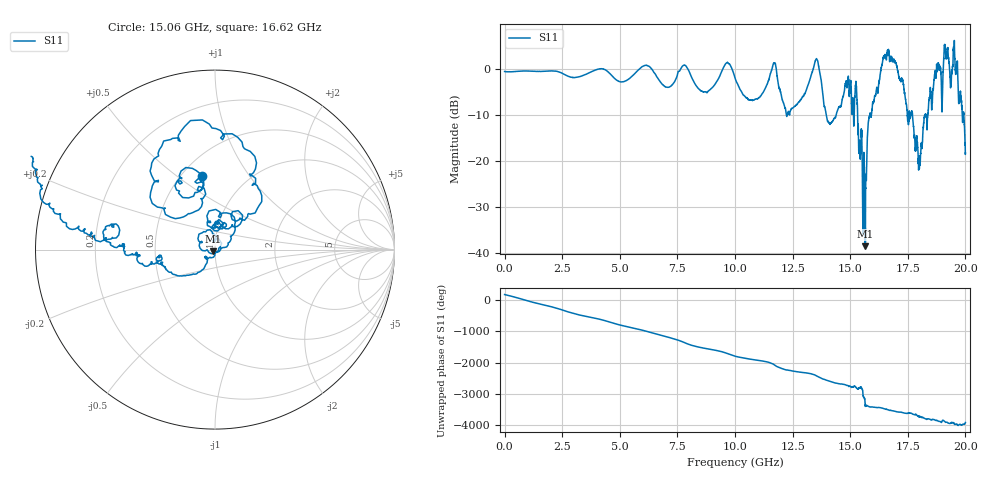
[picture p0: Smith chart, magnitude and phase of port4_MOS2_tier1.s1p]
! Created with skrf 1.8.0 (http://scikit-rf.org).
# GHz S RI R 50.0
!freq ReS11 ImS11
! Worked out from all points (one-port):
!   10001 points, 1 MHz to 20 GHz, reference 50 ohm
!   lowest |S11| = -38.4 dB at 15.66 GHz (marker M1), VSWR 1.02, Z = 49.1 - j0.828 ohm
!   |S11| at or under -10 dB: 13.96 GHz to 14.39 GHz (424.9 MHz wide, 3 % of centre); 15.32 GHz to 15.86 GHz (535.6 MHz wide, 3.44 % of centre); 17.7 GHz to 18.25 GHz (547.2 MHz wide, 3.04 % of centre) (the widest 3 of 18)
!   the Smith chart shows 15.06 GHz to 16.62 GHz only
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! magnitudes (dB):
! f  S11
! 1 MHz  -0.6
! 2.501 GHz  -1.0
! 5.001 GHz  -2.8
! 7.501 GHz  -1.3
! 8.705 GHz  -5.0
! 9.637 GHz  1.3
! 10 GHz  -2.0
! 10.84 GHz  -6.7
! 11.7 GHz  1.3
! 12.19 GHz  -8.6
! 12.5 GHz  -8.5
! 13.52 GHz  2.1
! 14.09 GHz  -11.7
! 15 GHz  -4.3
! 15.27 GHz  -3.7
! 15.6 GHz  -18.6
! 15.66 GHz  -38.4
! 15.85 GHz  -10.4
! 16.52 GHz  2.7
! 16.98 GHz  1.3
! 17.5 GHz  -11.1
! 18.04 GHz  -20.8
! 18.73 GHz  -1.1
! 18.95 GHz  -2.5
! 19.17 GHz  2.2
! 19.36 GHz  -3.9
! 19.57 GHz  -0.6
! 20 GHz  -18.2
